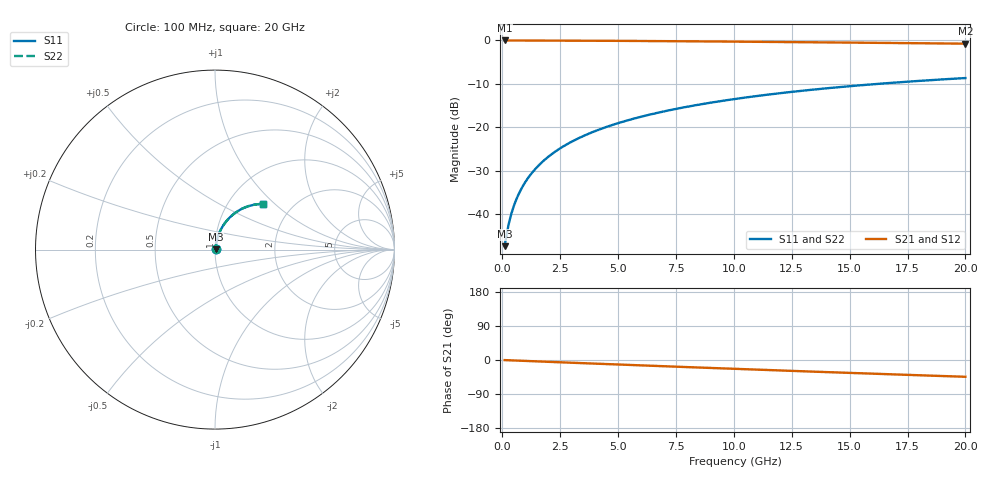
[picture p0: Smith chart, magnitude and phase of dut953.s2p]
! Touchstone file exported from HFSS 2026.1.0
!  File:  C:/ffzhzh/LocalFiles/Ansys_Project_Files/temp_train_TMRDL_953_1783158711_22436.aedt
!  Generated:  05:53:10 PM Jul  4, 2026
!  Design:  TMRDL
!  Project:  temp_train_TMRDL_953_1783158711_22436
! Variables:
!  h_bsmrdl = 2um
!  h_ox = 20um
!  h_rdl = 5um
!  h_sub = 80um
!  h_tmrdl = 4.62um
!  h_tsv = 80um
!  h_via = 3um
!  l_bsmrdl = 300um
!  l_sub = 1091.36um
!  l_tmrdl = 691.36um
!  m_sub = 200um
!  pitch = 35.04um
!  r_tsv = 6um
!  s_tmrdl = 10um
!  w_bsmrdl = 18um
!  w_sub = 500um
!  w_tmrdl = 15.55um
!  x_tsv_center1 = 699.135um
!  x_tsv_center2 = 1017.135um
!  x_tsv_center3 = 1724.045um
!  x_tsv_center4 = 2042.045um
!  x_tsv_center5 = 2748.955um
!  x_tsv_center6 = 3066.955um
# GHz S MA R 50.000000
! Terminal data exported
! Port[1] = TM_RDL1_1_T1
! Port[2] = TM_RDL1_1_T2
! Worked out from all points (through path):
!   200 points, 100 MHz to 20 GHz, reference 50 ohm
!   highest |S21| = -0.03 dB at 100 MHz (marker M1); lowest = -0.8 dB at 20 GHz (marker M2)
!   group delay of S21, straight-line fit = 6.15 ps
!   lowest |S11| = -47.3 dB at 100 MHz (marker M3), VSWR 1.01, Z = 50.4 + j0.253 ohm
!   |S11| at or under -10 dB: start of sweep to 16.23 GHz
!   |S22| runs from -47.3 to -8.7 dB; largest |S21 - S12| = 2.7e-15
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0.1  0.004326 35.5  0.9965 -0.3  0.9965 -0.3  0.004326 35.5
! Gamma 0 0 0 0
! Port Impedance 50 0 50 0
0.2  0.006166 53.1  0.9963 -0.5  0.9963 -0.5  0.006166 53.1
0.3  0.008246 61.7  0.9962 -0.7  0.9962 -0.7  0.008246 61.7
0.4  0.01039 66.8  0.996 -1.0  0.996 -1.0  0.01039 66.8
0.5  0.01256 70.1  0.9959 -1.2  0.9959 -1.2  0.01256 70.1
0.6  0.01476 72.4  0.9958 -1.5  0.9958 -1.5  0.01476 72.4
0.8  0.01921 75.4  0.9956 -2.0  0.9956 -2.0  0.01921 75.4
1.1  0.02595 77.6  0.9953 -2.7  0.9953 -2.7  0.02595 77.6
1.3  0.03047 78.4  0.9951 -3.2  0.9951 -3.2  0.03047 78.4
1.6  0.03726 78.9  0.9946 -3.9  0.9946 -3.9  0.03726 78.9
2.1  0.04854 79.0  0.9938 -5.1  0.9938 -5.1  0.04854 79.0
2.7  0.06197 78.4  0.9926 -6.5  0.9926 -6.5  0.06197 78.4
3.5  0.07962 77.1  0.9907 -8.4  0.9907 -8.4  0.07962 77.1
4.2  0.09481 75.8  0.9887 -10.1  0.9887 -10.1  0.09481 75.8
5  0.1119 74.2  0.9862 -11.9  0.9862 -11.9  0.1119 74.2
5.9  0.1307 72.3  0.9831 -14.0  0.9831 -14.0  0.1307 72.3
6.8  0.1491 70.5  0.9798 -16.1  0.9798 -16.1  0.1491 70.5
8.3  0.1788 67.3  0.9738 -19.5  0.9738 -19.5  0.1788 67.3
10.1  0.213 63.5  0.9659 -23.5  0.9659 -23.5  0.213 63.5
13.4  0.2712 56.7  0.95 -30.7  0.95 -30.7  0.2712 56.7
16.7  0.3233 50.0  0.9328 -37.6  0.9328 -37.6  0.3233 50.1
20  0.3689 43.6  0.9154 -44.3  0.9154 -44.3  0.3689 43.6
